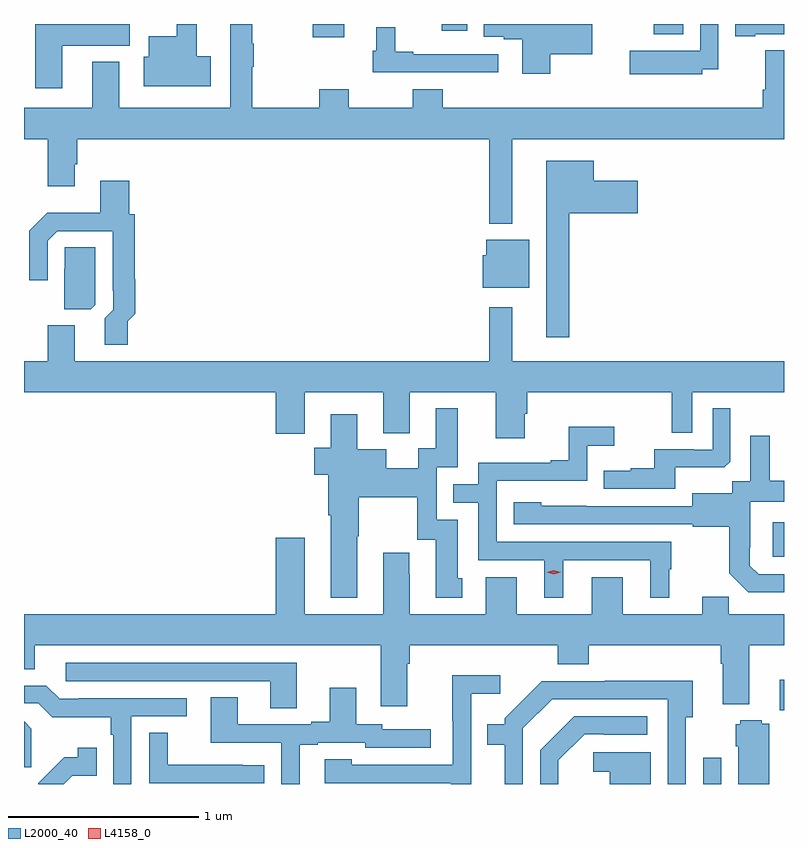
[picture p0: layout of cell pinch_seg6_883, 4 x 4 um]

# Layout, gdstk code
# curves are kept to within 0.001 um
import gdstk
lib = gdstk.Library(unit=1e-6, precision=1e-09)
def R(c, l, rs):  # rectangles x0, y0, x1, y1
    for r in rs: c.add(gdstk.rectangle(r[:2], r[2:], *l))
def P(c, l, *ps):  # polygons
    for p in ps: c.add(gdstk.Polygon(p, *l))
L2000_40 = (2000, 40)
L4158_0 = (4158, 0)

pinch_seg6_883 = lib.new_cell('pinch_seg6_883')
R(pinch_seg6_883, L2000_40, [(368.079,918.634,368.175,918.772), (368.483,919.022,368.505,919.183), (368.447,919.83,368.505,920.011), (366.025,922.563,366.19,922.634), (367.819,922.58,367.975,922.634), (366.704,922.599,366.838,922.634)])
P(pinch_seg6_883, L2000_40, [(368.353,922.581),(368.505,922.581),(368.505,922.634),(368.249,922.634),(368.249,922.569),(368.353,922.569)],
  [(364.705,922.52),(365.062,922.52),(365.062,922.634),(364.565,922.634),(364.565,922.296),(364.705,922.296)],
  [(368.076,922.397),(368.16,922.397),(368.16,922.634),(368.064,922.634),(368.064,922.494),(367.848,922.494),(367.848,922.492),(367.692,922.492),(367.692,922.37),(368.076,922.37)],
  [(365.488,922.465),(365.413,922.465),(365.413,922.634),(365.309,922.634),(365.309,922.57),(365.162,922.57),(365.162,922.461),(365.135,922.461),(365.135,922.307),(365.488,922.307)],
  [(367.075,922.028),(368.505,922.028),(368.505,922.496),(368.405,922.496),(368.405,922.288),(368.393,922.288),(368.393,922.192),(366.71,922.192),(366.71,922.291),(366.55,922.291),(366.55,922.192),(366.213,922.192),(366.213,922.291),(366.058,922.291),(366.058,922.192),(365.705,922.192),(365.705,922.409),(365.713,922.409),(365.713,922.529),(365.705,922.529),(365.705,922.634),(365.591,922.634),(365.591,922.192),(365.005,922.192),(365.005,922.435),(364.865,922.435),(364.865,922.192),(364.505,922.192),(364.505,922.028),(364.631,922.028),(364.631,921.78),(364.771,921.78),(364.771,921.895),(364.784,921.895),(364.784,922.028),(366.954,922.028),(366.954,921.584),(367.075,921.584)],
  [(367.275,922.475),(367.495,922.475),(367.495,922.634),(366.926,922.634),(366.926,922.566),(367.031,922.566),(367.031,922.554),(367.127,922.554),(367.127,922.371),(367.275,922.371)],
  [(367,922.476),(366.553,922.476),(366.553,922.489),(366.459,922.489),(366.459,922.618),(366.359,922.618),(366.359,922.494),(366.34,922.494),(366.34,922.38),(367,922.38)],
  [(367.375,921.638),(367.735,921.638),(367.735,921.808),(367.504,921.808),(367.504,921.913),(367.253,921.913),(367.253,920.985),(367.375,920.985)],
  [(365.051,921.069),(365.09,921.108),(365.09,921.29),(365.087,921.29),(365.087,921.633),(365.06,921.633),(365.06,921.808),(364.907,921.808),(364.907,921.64),(364.627,921.64),(364.533,921.546),(364.533,921.285),(364.629,921.285),(364.629,921.492),(364.68,921.543),(364.971,921.543),(364.971,921.229),(364.974,921.229),(364.974,921.129),(364.931,921.086),(364.931,920.946),(365.051,920.946)],
  [(367.165,921.499),(366.938,921.499),(366.938,921.417),(366.92,921.417),(366.92,921.245),(367.165,921.245)],
  [(364.881,921.156),(364.881,921.458),(364.719,921.458),(364.719,921.347),(364.718,921.347),(364.718,921.133),(364.857,921.133)],
  [(367.141,920.583),(367.154,920.583),(367.154,920.696),(367.914,920.696),(367.914,920.482),(368.022,920.482),(368.022,920.696),(368.505,920.696),(368.505,920.86),(367.075,920.86),(367.075,921.142),(366.954,921.142),(366.954,920.86),(364.771,920.86),(364.771,921.048),(364.631,921.048),(364.631,920.86),(364.505,920.86),(364.505,920.696),(365.831,920.696),(365.831,920.478),(365.983,920.478),(365.983,920.696),(366.395,920.696),(366.395,920.48),(366.535,920.48),(366.535,920.696),(366.989,920.696),(366.989,920.454),(367.141,920.454)],
  [(366.259,919.939),(366.267,919.939),(366.267,920.144),(366.575,920.144),(366.575,919.92),(366.671,919.92),(366.671,919.614),(366.811,919.614),(366.811,919.716),(366.787,919.716),(366.787,920.025),(366.678,920.025),(366.678,920.301),(366.787,920.301),(366.787,920.611),(366.671,920.611),(366.671,920.402),(366.581,920.402),(366.581,920.296),(366.412,920.296),(366.412,920.395),(366.259,920.395),(366.259,920.581),(366.119,920.581),(366.119,920.403),(366.032,920.403),(366.032,920.261),(366.107,920.261),(366.107,920.048),(366.119,920.048),(366.119,919.613),(366.259,919.613)],
  [(367.933,920.3),(368.191,920.3),(368.223,920.331),(368.223,920.611),(368.13,920.611),(368.13,920.394),(368.03,920.394),(368.03,920.397),(367.823,920.397),(367.823,920.296),(367.699,920.296),(367.699,920.284),(367.555,920.284),(367.555,920.187),(367.933,920.187)],
  [(367.342,919.812),(367.802,919.812),(367.802,919.613),(367.9,919.613),(367.9,919.764),(367.912,919.764),(367.912,919.908),(366.993,919.908),(366.993,920.229),(367.47,920.229),(367.47,920.414),(367.612,920.414),(367.612,920.513),(367.372,920.513),(367.372,920.338),(367.277,920.338),(367.277,920.325),(366.897,920.325),(366.897,920.211),(366.763,920.211),(366.763,920.115),(366.897,920.115),(366.897,919.812),(367.244,919.812),(367.244,919.613),(367.342,919.613)],
  [(368.505,919.737),(368.373,919.737),(368.326,919.784),(368.326,919.879),(368.328,919.879),(368.328,920.12),(368.505,920.12),(368.505,920.23),(368.431,920.23),(368.431,920.467),(368.327,920.467),(368.327,920.228),(368.232,920.228),(368.232,920.164),(368.021,920.164),(368.021,920.097),(367.227,920.098),(367.227,920.116),(367.083,920.116),(367.083,920.001),(368.025,920.001),(368.025,919.989),(368.217,919.989),(368.217,919.743),(368.317,919.643),(368.505,919.643)],
  [(366.523,919.268),(366.536,919.268),(366.536,919.364),(367.313,919.364),(367.313,919.265),(367.478,919.265),(367.478,919.364),(368.171,919.364),(368.171,919.268),(368.183,919.268),(368.183,919.055),(368.323,919.055),(368.323,919.364),(368.505,919.364),(368.505,919.528),(368.213,919.528),(368.213,919.619),(368.075,919.619),(368.075,919.528),(367.657,919.528),(367.657,919.723),(367.493,919.723),(367.493,919.528),(367.099,919.528),(367.099,919.723),(366.935,919.723),(366.935,919.528),(366.535,919.528),(366.535,919.739),(366.532,919.739),(366.532,919.852),(366.395,919.852),(366.395,919.528),(365.983,919.528),(365.983,919.93),(365.831,919.93),(365.831,919.528),(364.505,919.528),(364.505,919.237),(364.561,919.237),(364.561,919.364),(366.383,919.364),(366.383,919.044),(366.523,919.044)],
  [(365.941,919.272),(364.725,919.272),(364.725,919.176),(365.801,919.176),(365.801,919.033),(365.941,919.033)],
  [(366.858,919.109),(367.012,919.109),(367.012,919.207),(366.76,919.207),(366.76,918.968),(366.762,918.968),(366.762,918.735),(366.231,918.735),(366.231,918.763),(366.087,918.763),(366.087,918.639),(366.445,918.639),(366.445,918.637),(366.75,918.637),(366.75,918.634),(366.858,918.634)],
  [(367.131,918.927),(367.284,919.08),(367.893,919.08),(367.893,918.634),(367.989,918.634),(367.989,918.986),(368.026,918.986),(368.026,919.178),(367.561,919.178),(367.561,919.176),(367.23,919.176),(367.035,918.981),(367.035,918.949),(366.943,918.949),(366.943,918.84),(367.034,918.84),(367.034,918.634),(367.131,918.634)],
  [(365.07,918.99),(365.362,918.99),(365.362,919.086),(364.792,919.086),(364.792,919.083),(364.692,919.083),(364.623,919.152),(364.505,919.152),(364.505,919.059),(364.581,919.059),(364.654,918.986),(364.962,918.986),(364.962,918.893),(364.974,918.893),(364.974,918.634),(365.07,918.634)],
  [(365.956,918.84),(366.052,918.84),(366.052,918.852),(366.3,918.852),(366.3,918.825),(366.646,918.825),(366.646,918.921),(366.39,918.921),(366.39,918.948),(366.253,918.948),(366.253,919.141),(366.113,919.141),(366.113,918.961),(366.017,918.961),(366.017,918.948),(365.629,918.948),(365.629,919.091),(365.489,919.091),(365.489,918.852),(365.859,918.852),(365.859,918.634),(365.956,918.634)],
  [(367.318,918.76),(367.455,918.897),(367.555,918.897),(367.555,918.894),(367.786,918.894),(367.786,918.99),(367.4,918.99),(367.221,918.811),(367.221,918.634),(367.318,918.634)],
  [(368.428,918.952),(368.388,918.952),(368.388,918.97),(368.274,918.97),(368.274,918.948),(368.252,918.948),(368.252,918.834),(368.264,918.834),(368.264,918.634),(368.428,918.634)],
  [(364.544,918.925),(364.505,918.964),(364.505,918.723),(364.544,918.723)],
  [(365.77,918.734),(365.657,918.734),(365.657,918.735),(365.262,918.735),(365.262,918.905),(365.163,918.905),(365.163,918.639),(365.77,918.639)],
  [(364.758,918.678),(364.889,918.678),(364.889,918.826),(364.788,918.826),(364.788,918.776),(364.718,918.776),(364.581,918.638),(364.581,918.634),(364.714,918.634)],
  [(367.804,918.801),(367.5,918.801),(367.5,918.698),(367.587,918.698),(367.587,918.634),(367.804,918.634)])
P(pinch_seg6_883, L4158_0, [(367.293,919.738),(367.257,919.748),(367.257,919.748),(367.257,919.748),(367.293,919.758),(367.329,919.748),(367.329,919.748),(367.329,919.748)])

lib.write_gds('pinch_seg6_883.gds')
